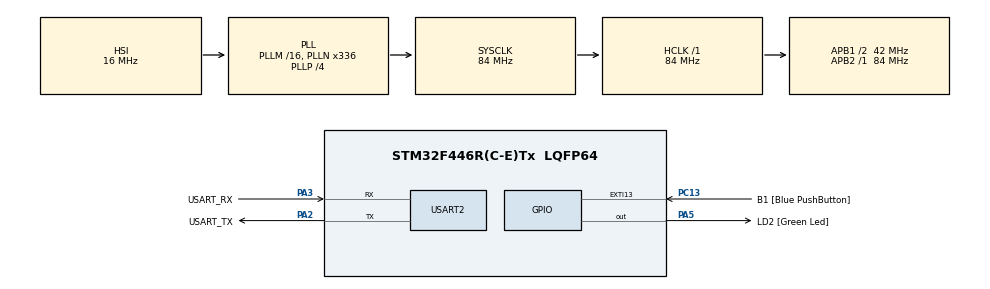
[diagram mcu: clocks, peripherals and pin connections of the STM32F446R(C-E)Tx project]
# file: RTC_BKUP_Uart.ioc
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Mcu.Family=STM32F4
Mcu.Name=STM32F446R(C-E)Tx
Mcu.Package=LQFP64
NVIC.PriorityGroup=NVIC_PRIORITYGROUP_0
PA13.GPIO_Label=TMS
PA13.Mode=Serial_Wire
PA13.Signal=SYS_JTMS-SWDIO
PA14.GPIO_Label=TCK
PA14.Mode=Serial_Wire
PA14.Signal=SYS_JTCK-SWCLK
PA2.GPIO_Label=USART_TX
PA2.Mode=Asynchronous
PA2.Signal=USART2_TX
PA3.GPIO_Label=USART_RX
PA3.Mode=Asynchronous
PA3.Signal=USART2_RX
PA5.GPIO_Label=LD2 [Green Led]
PA5.Signal=GPIO_Output
PB3.GPIO_Label=SWO
PB3.Signal=SYS_JTDO-SWO
PC13.GPIO_Label=B1 [Blue PushButton]
PC13.GPIO_ModeDefaultEXTI=GPIO_MODE_IT_FALLING
PC13.Signal=GPXTI13
PC14-OSC32_IN.Mode=LSE-External-Oscillator
PC14-OSC32_IN.Signal=RCC_OSC32_IN
PC15-OSC32_OUT.Mode=LSE-External-Oscillator
PC15-OSC32_OUT.Signal=RCC_OSC32_OUT
PH0-OSC_IN.Signal=RCC_OSC_IN
PH1-OSC_OUT.Signal=RCC_OSC_OUT
ProjectManager.HeapSize=0x200
ProjectManager.StackSize=0x400
ProjectManager.TargetToolchain=STM32CubeIDE
RCC.AHBFreq_Value=84000000
RCC.APB1CLKDivider=RCC_HCLK_DIV2
RCC.APB1Freq_Value=42000000
RCC.APB1TimFreq_Value=84000000
RCC.APB2Freq_Value=84000000
RCC.APB2TimFreq_Value=84000000
RCC.CortexFreq_Value=84000000
RCC.FLatency-AdvancedSettings=FLASH_LATENCY_2
RCC.HCLKFreq_Value=84000000
RCC.HSE_VALUE=8000000
RCC.HSI_VALUE=16000000
RCC.PLLN=336
RCC.PLLP=RCC_PLLP_DIV4
RCC.SYSCLKFreq_VALUE=84000000
RCC.SYSCLKSource=RCC_SYSCLKSOURCE_PLLCLK
RCC.USBFreq_Value=168000000
RCC.VCOOutputFreq_Value=336000000
RTC.Hours=9
RTC.Minutes=59
RTC.Seconds=55
USART2.VirtualMode=VM_ASYNC
VP_RTC_VS_RTC_Activate.Mode=RTC_Enabled
VP_RTC_VS_RTC_Calendar.Mode=RTC_Calendar
board=NUCLEO-F446RE

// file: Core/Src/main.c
/* USER CODE BEGIN Header */
/**
  ******************************************************************************
  * @file           : main.c
  * @brief          : Main program body
  ******************************************************************************
  * @attention
  *
  * Copyright (c) 2023 STMicroelectronics.
  * All rights reserved.
  *
  * This software is licensed under terms that can be found in the LICENSE file
  * in the root directory of this software component.
  * If no LICENSE file comes with this software, it is provided AS-IS.
  *
  ******************************************************************************
  */
/* USER CODE END Header */
#include "main.h"

RTC_HandleTypeDef hrtc;

UART_HandleTypeDef huart2;

void SystemClock_Config(void);
static void MX_GPIO_Init(void);
static void MX_RTC_Init(void);
static void MX_USART2_UART_Init(void);

int main(void)
{
  /* USER CODE BEGIN 1 */
  RTC_DateTypeDef getDate;
  RTC_TimeTypeDef getTime;
  uint32_t backUpRegisterValue;
  uint8_t transmitBuffer[40];
  /* USER CODE END 1 */

  /* MCU Configuration--------------------------------------------------------*/

  /* Reset of all peripherals, Initializes the Flash interface and the Systick. */
  HAL_Init();

  /* Configure the system clock */
  SystemClock_Config();

  /* Initialize all configured peripherals */
  MX_GPIO_Init();
  MX_RTC_Init();
  MX_USART2_UART_Init();
  /* USER CODE BEGIN 2 */
  backUpRegisterValue = HAL_RTCEx_BKUPRead(&hrtc,RTC_BKP_DR1);
  if(backUpRegisterValue != 0xBABA)
  {
	  sprintf(transmitBuffer,"Setting new Time\r\n");
	  HAL_UART_Transmit(&huart2, transmitBuffer, strlen(transmitBuffer), 100);
	  HAL_Delay(100);
	  /** set the Time and Date
	  */
	  RTC_TimeTypeDef setTime = {0};
	  RTC_DateTypeDef setDate = {0};
	  setTime.Hours = 0x9;
	  setTime.Minutes = 0x59;
	  setTime.Seconds = 0x55;
	  setTime.DayLightSaving = RTC_DAYLIGHTSAVING_NONE;
	  setTime.StoreOperation = RTC_STOREOPERATION_RESET;
	  if (HAL_RTC_SetTime(&hrtc, &setTime, RTC_FORMAT_BCD) != HAL_OK)
	  {
	    Error_Handler();
	  }
	  setDate.WeekDay = RTC_WEEKDAY_MONDAY;
	  setDate.Month = RTC_MONTH_APRIL;
	  setDate.Date = 0x11;
	  setDate.Year = 0x23;

	  if (HAL_RTC_SetDate(&hrtc, &setDate, RTC_FORMAT_BCD) != HAL_OK)
	  {
	    Error_Handler();
	  }

	  /*Write into BackUp register*/
	  HAL_RTCEx_BKUPWrite(&hrtc,RTC_BKP_DR1,0xBABA);
  }
  /* USER CODE END 2 */

  /* Infinite loop */
  while (1)
  {

    /* USER CODE BEGIN 3 */
	if(HAL_RTC_GetDate(&hrtc, &getDate, RTC_FORMAT_BCD) != HAL_OK)
	{
		Error_Handler();
	}
	// ! Delay is required here
	HAL_Delay(1000);
	if(HAL_RTC_GetTime(&hrtc, &getTime, RTC_FORMAT_BCD) != HAL_OK)
	{
		Error_Handler();
	}
	sprintf(transmitBuffer,"Time- %x:%x:%x\r\n", getTime.Hours, getTime.Minutes, getTime.Seconds);
	HAL_UART_Transmit(&huart2, transmitBuffer, strlen(transmitBuffer), 100);
	HAL_Delay(2000);
  }
  /* USER CODE END 3 */
}

void SystemClock_Config(void)
{
  RCC_OscInitTypeDef RCC_OscInitStruct = {0};
  RCC_ClkInitTypeDef RCC_ClkInitStruct = {0};

  /** Configure the main internal regulator output voltage
  */
  __HAL_RCC_PWR_CLK_ENABLE();
  __HAL_PWR_VOLTAGESCALING_CONFIG(PWR_REGULATOR_VOLTAGE_SCALE3);
  /** Initializes the RCC Oscillators according to the specified parameters
  * in the RCC_OscInitTypeDef structure.
  */
  RCC_OscInitStruct.OscillatorType = RCC_OSCILLATORTYPE_HSI|RCC_OSCILLATORTYPE_LSI;
  RCC_OscInitStruct.LSEState = RCC_LSE_ON;
  RCC_OscInitStruct.HSIState = RCC_HSI_ON;
  RCC_OscInitStruct.HSICalibrationValue = RCC_HSICALIBRATION_DEFAULT;
  RCC_OscInitStruct.LSIState = RCC_LSI_ON;
  RCC_OscInitStruct.PLL.PLLState = RCC_PLL_ON;
  RCC_OscInitStruct.PLL.PLLSource = RCC_PLLSOURCE_HSI;
  RCC_OscInitStruct.PLL.PLLM = 16;
  RCC_OscInitStruct.PLL.PLLN = 336;
  RCC_OscInitStruct.PLL.PLLP = RCC_PLLP_DIV4;
  RCC_OscInitStruct.PLL.PLLQ = 2;
  RCC_OscInitStruct.PLL.PLLR = 2;
  if (HAL_RCC_OscConfig(&RCC_OscInitStruct) != HAL_OK)
  {
    Error_Handler();
  }
  /** Initializes the CPU, AHB and APB buses clocks
  */
  RCC_ClkInitStruct.ClockType = RCC_CLOCKTYPE_HCLK|RCC_CLOCKTYPE_SYSCLK
                              |RCC_CLOCKTYPE_PCLK1|RCC_CLOCKTYPE_PCLK2;
  RCC_ClkInitStruct.SYSCLKSource = RCC_SYSCLKSOURCE_PLLCLK;
  RCC_ClkInitStruct.AHBCLKDivider = RCC_SYSCLK_DIV1;
  RCC_ClkInitStruct.APB1CLKDivider = RCC_HCLK_DIV2;
  RCC_ClkInitStruct.APB2CLKDivider = RCC_HCLK_DIV1;

  if (HAL_RCC_ClockConfig(&RCC_ClkInitStruct, FLASH_LATENCY_2) != HAL_OK)
  {
    Error_Handler();
  }
}

static void MX_RTC_Init(void)
{

//  RTC_TimeTypeDef sTime = {0};
//  RTC_DateTypeDef sDate = {0};

  /** Initialize RTC Only
  */
  hrtc.Instance = RTC;
  hrtc.Init.HourFormat = RTC_HOURFORMAT_24;
  hrtc.Init.AsynchPrediv = 127;
  hrtc.Init.SynchPrediv = 255;
  hrtc.Init.OutPut = RTC_OUTPUT_DISABLE;
  hrtc.Init.OutPutPolarity = RTC_OUTPUT_POLARITY_HIGH;
  hrtc.Init.OutPutType = RTC_OUTPUT_TYPE_OPENDRAIN;
  if (HAL_RTC_Init(&hrtc) != HAL_OK)
  {
    Error_Handler();
  }

  /** Initialize RTC and set the Time and Date
  */
//  sTime.Hours = 0x9;
//  sTime.Minutes = 0x59;
//  sTime.Seconds = 0x55;
//  sTime.DayLightSaving = RTC_DAYLIGHTSAVING_NONE;
//  sTime.StoreOperation = RTC_STOREOPERATION_RESET;
//  if (HAL_RTC_SetTime(&hrtc, &sTime, RTC_FORMAT_BCD) != HAL_OK)
//  {
//    Error_Handler();
//  }
//  sDate.WeekDay = RTC_WEEKDAY_MONDAY;
//  sDate.Month = RTC_MONTH_APRIL;
//  sDate.Date = 0x11;
//  sDate.Year = 0x23;
//
//  if (HAL_RTC_SetDate(&hrtc, &sDate, RTC_FORMAT_BCD) != HAL_OK)
//  {
//    Error_Handler();
//  }

}

static void MX_USART2_UART_Init(void)
{

  huart2.Instance = USART2;
  huart2.Init.BaudRate = 115200;
  huart2.Init.WordLength = UART_WORDLENGTH_8B;
  huart2.Init.StopBits = UART_STOPBITS_1;
  huart2.Init.Parity = UART_PARITY_NONE;
  huart2.Init.Mode = UART_MODE_TX_RX;
  huart2.Init.HwFlowCtl = UART_HWCONTROL_NONE;
  huart2.Init.OverSampling = UART_OVERSAMPLING_16;
  if (HAL_UART_Init(&huart2) != HAL_OK)
  {
    Error_Handler();
  }

}

static void MX_GPIO_Init(void)
{
  GPIO_InitTypeDef GPIO_InitStruct = {0};

  /* GPIO Ports Clock Enable */
  __HAL_RCC_GPIOC_CLK_ENABLE();
  __HAL_RCC_GPIOH_CLK_ENABLE();
  __HAL_RCC_GPIOA_CLK_ENABLE();
  __HAL_RCC_GPIOB_CLK_ENABLE();

  /*Configure GPIO pin Output Level */
  HAL_GPIO_WritePin(LD2_GPIO_Port, LD2_Pin, GPIO_PIN_RESET);

  /*Configure GPIO pin : B1_Pin */
  GPIO_InitStruct.Pin = B1_Pin;
  GPIO_InitStruct.Mode = GPIO_MODE_IT_FALLING;
  GPIO_InitStruct.Pull = GPIO_NOPULL;
  HAL_GPIO_Init(B1_GPIO_Port, &GPIO_InitStruct);

  /*Configure GPIO pin : LD2_Pin */
  GPIO_InitStruct.Pin = LD2_Pin;
  GPIO_InitStruct.Mode = GPIO_MODE_OUTPUT_PP;
  GPIO_InitStruct.Pull = GPIO_NOPULL;
  GPIO_InitStruct.Speed = GPIO_SPEED_FREQ_LOW;
  HAL_GPIO_Init(LD2_GPIO_Port, &GPIO_InitStruct);

}

void Error_Handler(void)
{
  __disable_irq();
  while (1)
  {
  }
}
